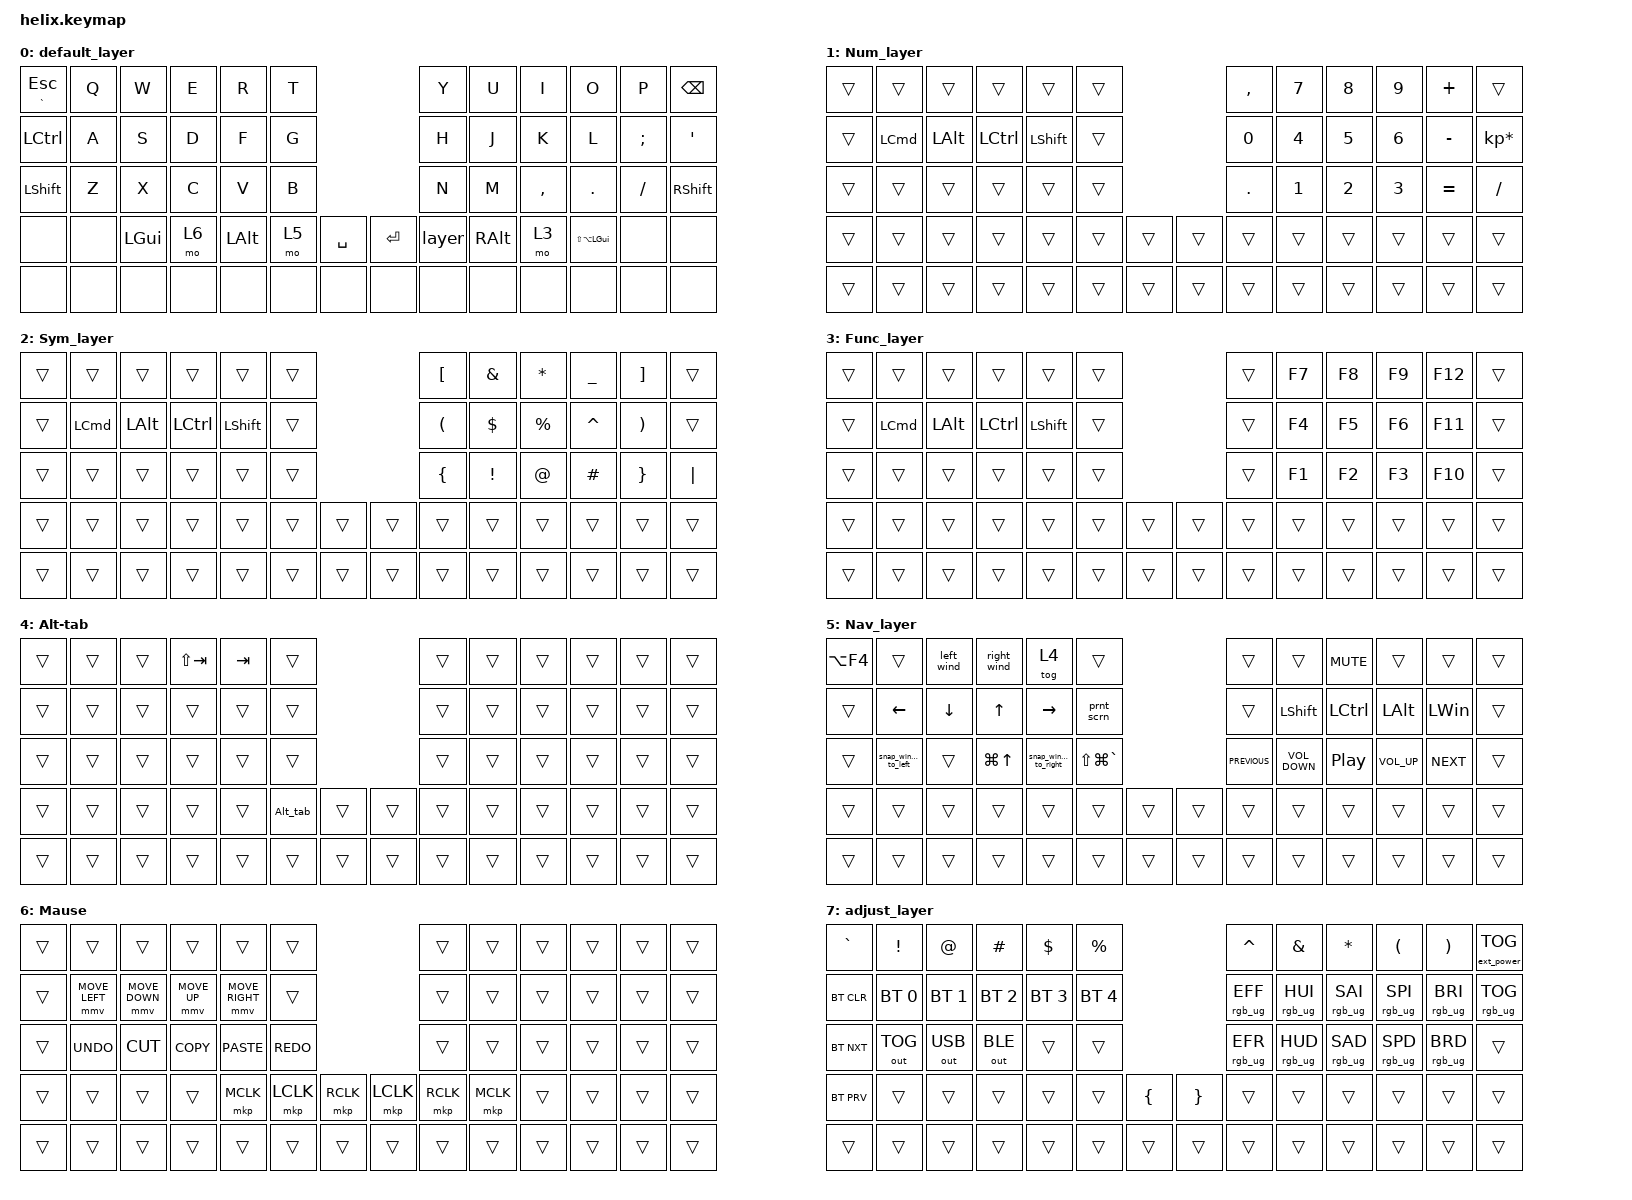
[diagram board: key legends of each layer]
/*
 * Copyright (c) 2020 The ZMK Contributors
 *
 * SPDX-License-Identifier: MIT
 */

#include <behaviors.dtsi>
#include <dt-bindings/zmk/bt.h>
#include <dt-bindings/zmk/ext_power.h>
#include <dt-bindings/zmk/keys.h>
#include <dt-bindings/zmk/outputs.h>
#include <dt-bindings/zmk/pointing.h>
#include <dt-bindings/zmk/rgb.h>

#define DEFAULT 0
#define LOWER  1
#define RAISE  2
#define ADJUST 3

/* NOTE: At the time of the creation of this keymap, there are no specified codes for 'eisuu' and 'kana' input in ZMK.
However, 'LANG1' and 'LANG2' are fully-functioning candidates for 'kana' and 'eisuu' input respectively.
As such, those are in use within the default layer at this time.*/

/ {
    macros {
        left_wind: left_wind {
            compatible = "zmk,behavior-macro";
            #binding-cells = <0>;
            bindings = <&kp LG(LC(LEFT_ARROW))>;
            label = "LEFT_WIND";
        };

        right_wind: right_window {
            compatible = "zmk,behavior-macro";
            #binding-cells = <0>;
            bindings = <&kp LC(LG(RIGHT))>;
            label = "RIGHT_WINDOW";
        };

        prnt_scrn: prnt_scrn {
            compatible = "zmk,behavior-macro";
            #binding-cells = <0>;
            bindings = <&kp LS(LG(S))>;
            label = "PRNT_SCRN";
        };

        Alt_tab: Alt_tab {
            compatible = "zmk,behavior-macro";
            #binding-cells = <0>;
            bindings =
                <&macro_press>,
                <&kp LEFT_ALT>,
                <&macro_pause_for_release>,
                <&macro_release>,
                <&kp LEFT_ALT>,
                <&macro_tap>,
                <&tog 4>;

            label = "ALT_TAB";
        };

        snap_window_to_left: snap_window_to_left {
            compatible = "zmk,behavior-macro";
            #binding-cells = <0>;
            bindings = <&kt LEFT_WIN &kp LEFT &kt LEFT_WIN>;
            label = "SNAP_WINDOW_TO_LEFT";
        };

        snap_window_to_right: snap_window_to_right {
            compatible = "zmk,behavior-macro";
            #binding-cells = <0>;
            bindings = <&kt LEFT_WIN &kp RIGHT &kt LEFT_WIN>;
            label = "SNAP_WINDOW_TO_RIGHT";
        };
    };

    behaviors {
        layer: layer {
            compatible = "zmk,behavior-tap-dance";
            label = "LAYER";
            #binding-cells = <0>;
            bindings = <&mo 1>, <&mo 2>;
        };
    };

    combos {
        compatible = "zmk,combos";

        delete {
            bindings = <&kp DELETE>;
            key-positions = <11 10>;
        };

        tab {
            bindings = <&kp TAB>;
            key-positions = <15 16>;
            layers = <0>;
        };
    };

    keymap {
        compatible = "zmk,keymap";

        default_layer {
            // ---------------------------------------------------------------------------------------------------------------------------------
            // | GRAVE  |   1    |   2    |   3    |   4    |   5    |                                      |   6    |   7    |   8    |   9    |   0    |  DEL   |
            // |  TAB   |   Q    |   W    |   E    |   R    |   T    |                                      |   Y    |   U    |   I    |   O    |   P    |  BSPC  |
            // |  CTRL  |   A    |   S    |   D    |   F    |   G    |                                      |   H    |   J    |   K    |   L    |   ;    |   '    |
            // |  SHIFT |   Z    |   X    |   C    |   V    |   B    |  LBKT  |                    |  RBKT  |   N    |   M    |   ,    |   .    |   /    |  RET   |
            // | ADJUST |  ESC   |  ALT   |  LGUI  | EISUU  | LOWER  | SPACE  |                    |  SPACE | RAISE  |  KANA  |  LEFT  |  DOWN  |  UP    |  RIGHT |

            bindings = <
&mt GRAVE ESCAPE  &kp Q  &kp W         &kp E  &kp R         &kp T                          &kp Y   &kp U          &kp I      &kp O             &kp P          &kp BACKSPACE
&kp LCTRL         &kp A  &kp S         &kp D  &kp F         &kp G                          &kp H   &kp J          &kp K      &kp L             &kp SEMICOLON  &kp SQT
&kp LEFT_SHIFT    &kp Z  &kp X         &kp C  &kp V         &kp B                          &kp N   &kp M          &kp COMMA  &kp PERIOD        &kp SLASH      &kp RIGHT_SHIFT
&none             &none  &kp LEFT_GUI  &mo 6  &kp LEFT_ALT  &mo 5  &kp SPACE    &kp ENTER  &layer  &kp RIGHT_ALT  &mo 3      &kp LS(LA(LGUI))  &none          &none
&none             &none  &none         &none  &none         &none  &none        &none      &none   &none          &none      &none             &none          &none
            >;
        };

        Num_layer {
            // ---------------------------------------------------------------------------------------------------------------------------------
            // |       |       |       |       |       |       |                                    |       |       |       |       |       |       |
            // |   `   |   1   |   2   |   3   |   4   |   5   |                                    |   6   |   7   |   8   |   9   |   0   |  DEL  |
            // |       |  F1   |  F2   |  F3   |  F4   |  F5   |                                    |  F6   |   -   |   =   |   [   |   ]   |   \   |
            // |       |  F7   |  F8   |  F9   |  F10  |  F11  |       |                    |       |  F12  |       | PSCRN | PG_DN | PG_UP |       |
            // |       |       |       |       |       |       |       |                    |       |       |       | NEXT  | VOL-  | VOL+  | PLAY  |

            bindings = <
&trans  &trans    &trans        &trans     &trans      &trans                    &kp COMMA  &kp N7        &kp N8        &kp N9        &kp PLUS   &trans
&trans  &kp LCMD  &kp LEFT_ALT  &kp LCTRL  &kp LSHIFT  &trans                    &kp N0     &kp N4        &kp N5        &kp NUMBER_6  &kp MINUS  &kp KP_ASTERISK
&trans  &trans    &trans        &trans     &trans      &trans                    &kp DOT    &kp NUMBER_1  &kp NUMBER_2  &kp NUMBER_3  &kp EQUAL  &kp SLASH
&trans  &trans    &trans        &trans     &trans      &trans  &trans    &trans  &trans     &trans        &trans        &trans        &trans     &trans
&trans  &trans    &trans        &trans     &trans      &trans  &trans    &trans  &trans     &trans        &trans        &trans        &trans     &trans
            >;
        };

        Sym_layer {
            // ---------------------------------------------------------------------------------------------------------------------------------
            // |      |      |      |      |      |      |                                  |      |      |      |      |      |      |
            // |  ~   |  !   |  @   |  #   |  $   |  %   |                                  |  ^   |  &   |  *   |  (   |  )   |      |
            // |      |      |      |      |      |      |                                  |      |  _   |  +   |  {   |  }   | PIPE |
            // |      |      |      |      |      |      |  (   |                    |  )   |      |      |      | HOME | END  |      |
            // |      |      |      |      |      |      |      |                    |      |      |      |      |      |      |      |

            bindings = <
&trans  &trans    &trans        &trans     &trans     &trans                    &kp LEFT_BRACKET      &kp AMPS         &kp ASTRK    &kp UNDERSCORE  &kp RIGHT_BRACKET      &trans
&trans  &kp LCMD  &kp LEFT_ALT  &kp LCTRL  &kp LSHFT  &trans                    &kp LEFT_PARENTHESIS  &kp DOLLAR       &kp PERCENT  &kp CARET       &kp RIGHT_PARENTHESIS  &trans
&trans  &trans    &trans        &trans     &trans     &trans                    &kp LEFT_BRACE        &kp EXCLAMATION  &kp AT_SIGN  &kp HASH        &kp RBRC               &kp PIPE
&trans  &trans    &trans        &trans     &trans     &trans  &trans    &trans  &trans                &trans           &trans       &trans          &trans                 &trans
&trans  &trans    &trans        &trans     &trans     &trans  &trans    &trans  &trans                &trans           &trans       &trans          &trans                 &trans
            >;
        };

        Func_layer {
            bindings = <
&trans  &trans    &trans    &trans     &trans          &trans                    &trans  &kp F7  &kp F8  &kp F9  &kp F12  &trans
&trans  &kp LCMD  &kp LALT  &kp LCTRL  &kp LEFT_SHIFT  &trans                    &trans  &kp F4  &kp F5  &kp F6  &kp F11  &trans
&trans  &trans    &trans    &trans     &trans          &trans                    &trans  &kp F1  &kp F2  &kp F3  &kp F10  &trans
&trans  &trans    &trans    &trans     &trans          &trans  &trans    &trans  &trans  &trans  &trans  &trans  &trans   &trans
&trans  &trans    &trans    &trans     &trans          &trans  &trans    &trans  &trans  &trans  &trans  &trans  &trans   &trans
            >;
        };

        Alt-tab {
            bindings = <
&trans  &trans  &trans  &kp LS(TAB)  &kp TAB  &trans                      &trans  &trans  &trans  &trans  &trans  &trans
&trans  &trans  &trans  &trans       &trans   &trans                      &trans  &trans  &trans  &trans  &trans  &trans
&trans  &trans  &trans  &trans       &trans   &trans                      &trans  &trans  &trans  &trans  &trans  &trans
&trans  &trans  &trans  &trans       &trans   &Alt_tab  &trans    &trans  &trans  &trans  &trans  &trans  &trans  &trans
&trans  &trans  &trans  &trans       &trans   &trans    &trans    &trans  &trans  &trans  &trans  &trans  &trans  &trans
            >;
        };

        Nav_layer {
            bindings = <
&kp LA(F4)  &trans                &left_wind      &right_wind       &tog 4                 &trans                               &trans          &trans             &kp C_MUTE        &trans           &trans        &trans
&trans      &kp LEFT              &kp DOWN_ARROW  &kp UP_ARROW      &kp RIGHT              &prnt_scrn                           &trans          &kp LEFT_SHIFT     &kp LCTRL         &kp LEFT_ALT     &kp LEFT_WIN  &trans
&trans      &snap_window_to_left  &trans          &kp LG(UP_ARROW)  &snap_window_to_right  &kp LS(LG(GRAVE))                    &kp K_PREVIOUS  &kp C_VOLUME_DOWN  &kp C_PLAY_PAUSE  &kp C_VOLUME_UP  &kp C_NEXT    &trans
&trans      &trans                &trans          &trans            &trans                 &trans             &trans    &trans  &trans          &trans             &trans            &trans           &trans        &trans
&trans      &trans                &trans          &trans            &trans                 &trans             &trans    &trans  &trans          &trans             &trans            &trans           &trans        &trans
            >;
        };

        Mause {
            bindings = <
&trans  &trans          &trans          &trans        &trans           &trans                              &trans     &trans     &trans  &trans  &trans  &trans
&trans  &mmv MOVE_LEFT  &mmv MOVE_DOWN  &mmv MOVE_UP  &mmv MOVE_RIGHT  &trans                              &trans     &trans     &trans  &trans  &trans  &trans
&trans  &kp K_UNDO      &kp K_CUT       &kp K_COPY    &kp K_PASTE      &kp K_REDO                          &trans     &trans     &trans  &trans  &trans  &trans
&trans  &trans          &trans          &trans        &mkp MCLK        &mkp LCLK   &mkp RCLK    &mkp LCLK  &mkp RCLK  &mkp MCLK  &trans  &trans  &trans  &trans
&trans  &trans          &trans          &trans        &trans           &trans      &trans       &trans     &trans     &trans     &trans  &trans  &trans  &trans
            >;
        };

        adjust_layer {
            // ---------------------------------------------------------------------------------------------------------------------------------
            // |    `     |    !     |    @     |    #     |    $     |    %     |                                          |    ^     |    &     |    *     |    (     |    )     |  EP TOG  |
            // |  BT CLR  | BT SEL0  | BT SEL1  | BT SEL2  | BGT SEL3 | BT SEL4  |                                          | RGB EFF+ | RGB HUE+ | RGB SAT+ | RGB SPD+ | RGB BRI+ | RGB TOG  |
            // |  BT NXT  | OUT TOG  | OUT USB  | OUT BLE  |          |          |                                          | RGB EFF- | RGB HUE- | RGB SAT- | RGB SPD- | RGB BRI- |          |
            // |  BT PRV  |          |          |          |          |          |    {     |                    |    }     |          |          |          |          |          |          |
            // |          |          |          |          |          |          |          |                    |          |          |          |          |          |          |          |

            bindings = <
&kp GRAVE   &kp EXCL      &kp AT        &kp HASH      &kp DLLR      &kp PRCNT                           &kp CARET        &kp AMPS         &kp ASTRK        &kp LPAR         &kp RPAR         &ext_power EP_TOG
&bt BT_CLR  &bt BT_SEL 0  &bt BT_SEL 1  &bt BT_SEL 2  &bt BT_SEL 3  &bt BT_SEL 4                        &rgb_ug RGB_EFF  &rgb_ug RGB_HUI  &rgb_ug RGB_SAI  &rgb_ug RGB_SPI  &rgb_ug RGB_BRI  &rgb_ug RGB_TOG
&bt BT_NXT  &out OUT_TOG  &out OUT_USB  &out OUT_BLE  &trans        &trans                              &rgb_ug RGB_EFR  &rgb_ug RGB_HUD  &rgb_ug RGB_SAD  &rgb_ug RGB_SPD  &rgb_ug RGB_BRD  &trans
&bt BT_PRV  &trans        &trans        &trans        &trans        &trans        &kp LBRC    &kp RBRC  &trans           &trans           &trans           &trans           &trans           &trans
&trans      &trans        &trans        &trans        &trans        &trans        &trans      &trans    &trans           &trans           &trans           &trans           &trans           &trans
            >;
        };
    };
};
